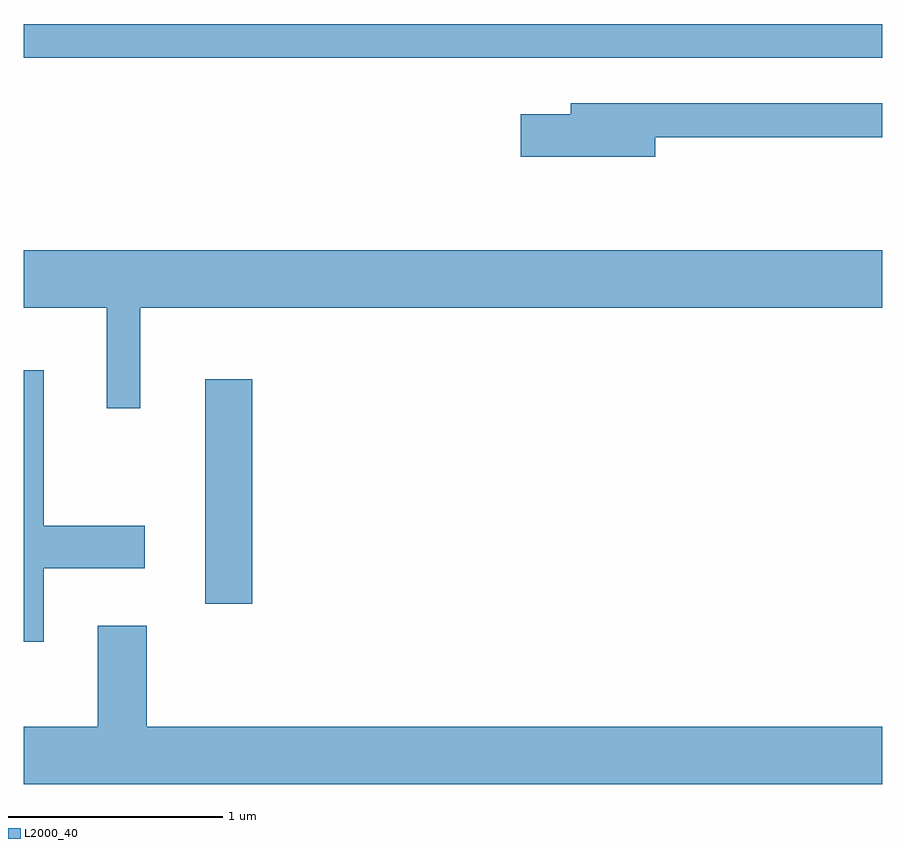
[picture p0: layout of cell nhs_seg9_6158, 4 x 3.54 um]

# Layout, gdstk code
import gdstk
lib = gdstk.Library(unit=1e-6, precision=1e-09)
def R(c, l, rs):  # rectangles x0, y0, x1, y1
    for r in rs: c.add(gdstk.rectangle(r[:2], r[2:], *l))
def P(c, l, *ps):  # polygons
    for p in ps: c.add(gdstk.Polygon(p, *l))
L2000_40 = (2000, 40)

nhs_seg9_6158 = lib.new_cell('nhs_seg9_6158')
R(nhs_seg9_6158, L2000_40, [(368.456,1959.356,368.674,1960.404), (367.611,1961.901,371.611,1962.059)])
P(nhs_seg9_6158, L2000_40, [(370.554,1961.531),(371.611,1961.531),(371.611,1961.689),(370.161,1961.689),(370.161,1961.639),(369.926,1961.639),(369.926,1961.441),(370.554,1961.441)],
  [(368.154,1960.736),(371.611,1960.736),(371.611,1961.004),(367.611,1961.004),(367.611,1960.736),(367.996,1960.736),(367.996,1960.268),(368.154,1960.268)],
  [(367.704,1959.521),(368.174,1959.521),(368.174,1959.719),(367.704,1959.719),(367.704,1960.444),(367.611,1960.444),(367.611,1959.178),(367.704,1959.178)],
  [(371.611,1958.784),(368.184,1958.784),(368.184,1959.254),(367.956,1959.254),(367.956,1958.784),(367.611,1958.784),(367.611,1958.516),(371.611,1958.516)])

lib.write_gds('nhs_seg9_6158.gds')
